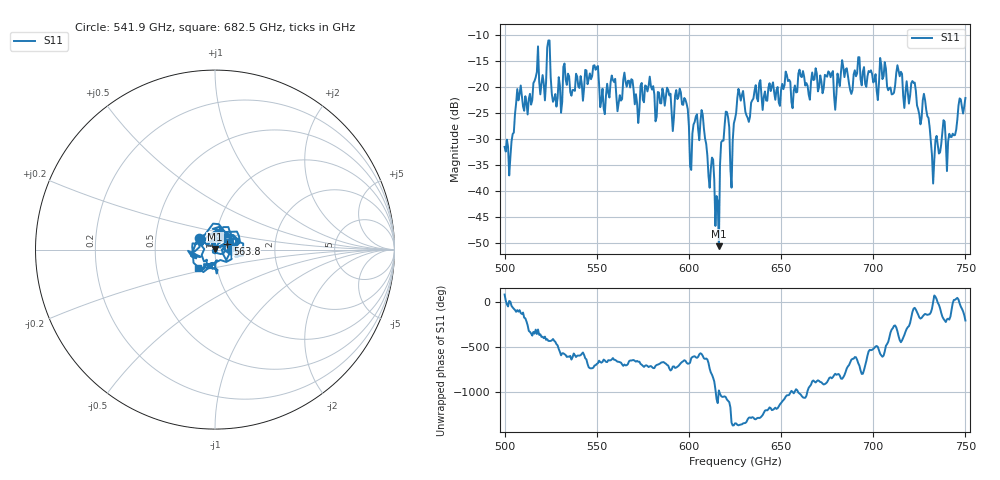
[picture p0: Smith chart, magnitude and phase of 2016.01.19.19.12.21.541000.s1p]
!Created with skrf (http://scikit-rf.org).
# GHz S RI R 50.0
!freq ReS11 ImS11
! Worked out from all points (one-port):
!   401 points, 500 GHz to 750 GHz, reference 50 ohm
!   lowest |S11| = -50.5 dB at 616.2 GHz (marker M1), VSWR 1.01, Z = 50 + j0.296 ohm
!   |S11| at or under -10 dB: start of sweep to end of sweep
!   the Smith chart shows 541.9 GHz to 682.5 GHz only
!   S11 on the Smith chart (normalised r, x): 541.9 GHz: 0.83, +0.10; 563.8 GHz: 1.15, +0.08; 682.5 GHz: 0.81, -0.17
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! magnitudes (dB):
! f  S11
! 500 GHz  -31.5
! 503.8 GHz  -30.5
! 507.5 GHz  -22.6
! 520.6 GHz  -17.8
! 523.8 GHz  -11.1
! 526.9 GHz  -22.4
! 531.2 GHz  -22.9
! 541.9 GHz  -19.4
! 549.4 GHz  -16.7
! 553.1 GHz  -20.4
! 558.8 GHz  -18.7
! 562.5 GHz  -21.6
! 563.8 GHz  -22.4
! 593.8 GHz  -22.4
! 601.2 GHz  -35.9
! 607.5 GHz  -25.4
! 615 GHz  -40.9
! 616.2 GHz  -50.5
! 619.4 GHz  -27.4
! 623.1 GHz  -39.3
! 625 GHz  -26.2
! 656.2 GHz  -24.1
! 682.5 GHz  -17.1
! 687.5 GHz  -20.7
! 718.8 GHz  -21.1
! 728.1 GHz  -22.6
! 732.5 GHz  -38.5
! 750 GHz  -22.1
